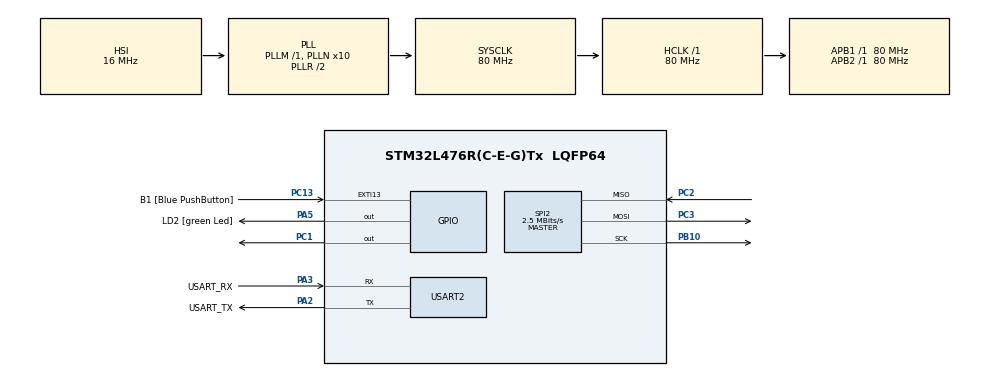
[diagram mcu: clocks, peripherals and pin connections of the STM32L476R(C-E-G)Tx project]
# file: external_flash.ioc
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Mcu.Family=STM32L4
Mcu.Name=STM32L476R(C-E-G)Tx
Mcu.Package=LQFP64
NVIC.PriorityGroup=NVIC_PRIORITYGROUP_4
PA13\ (JTMS-SWDIO).GPIO_Label=TMS
PA13\ (JTMS-SWDIO).Mode=Serial_Wire
PA13\ (JTMS-SWDIO).Signal=SYS_JTMS-SWDIO
PA14\ (JTCK-SWCLK).GPIO_Label=TCK
PA14\ (JTCK-SWCLK).Mode=Serial_Wire
PA14\ (JTCK-SWCLK).Signal=SYS_JTCK-SWCLK
PA2.GPIO_Label=USART_TX
PA2.GPIO_Mode=GPIO_MODE_AF_PP
PA2.GPIO_PuPd=GPIO_NOPULL
PA2.GPIO_Speed=GPIO_SPEED_FREQ_VERY_HIGH
PA2.Mode=Asynchronous
PA2.Signal=USART2_TX
PA3.GPIO_Label=USART_RX
PA3.GPIO_Mode=GPIO_MODE_AF_PP
PA3.GPIO_PuPd=GPIO_NOPULL
PA3.GPIO_Speed=GPIO_SPEED_FREQ_VERY_HIGH
PA3.Mode=Asynchronous
PA3.Signal=USART2_RX
PA5.GPIO_Label=LD2 [green Led]
PA5.GPIO_ModeDefaultOutputPP=GPIO_MODE_OUTPUT_PP
PA5.GPIO_PuPd=GPIO_NOPULL
PA5.GPIO_Speed=GPIO_SPEED_FREQ_LOW
PA5.Signal=GPIO_Output
PB10.Mode=Full_Duplex_Master
PB10.Signal=SPI2_SCK
PB3\ (JTDO-TRACESWO).GPIO_Label=SWO
PB3\ (JTDO-TRACESWO).Signal=SYS_JTDO-SWO
PC1.GPIO_Speed=GPIO_SPEED_FREQ_VERY_HIGH
PC1.PinState=GPIO_PIN_SET
PC1.Signal=GPIO_Output
PC13.GPIO_Label=B1 [Blue PushButton]
PC13.GPIO_ModeDefaultEXTI=GPIO_MODE_IT_FALLING
PC13.GPIO_PuPd=GPIO_NOPULL
PC13.Signal=GPXTI13
PC14-OSC32_IN\ (PC14).Signal=RCC_OSC32_IN
PC15-OSC32_OUT\ (PC15).Signal=RCC_OSC32_OUT
PC2.Mode=Full_Duplex_Master
PC2.Signal=SPI2_MISO
PC3.Mode=Full_Duplex_Master
PC3.Signal=SPI2_MOSI
PH0-OSC_IN\ (PH0).Signal=RCC_OSC_IN
PH1-OSC_OUT\ (PH1).Signal=RCC_OSC_OUT
ProjectManager.HeapSize=0x200
ProjectManager.StackSize=0x400
ProjectManager.TargetToolchain=STM32CubeIDE
RCC.ADCFreq_Value=64000000
RCC.AHBFreq_Value=80000000
RCC.APB1Freq_Value=80000000
RCC.APB1TimFreq_Value=80000000
RCC.APB2Freq_Value=80000000
RCC.APB2TimFreq_Value=80000000
RCC.CortexFreq_Value=80000000
RCC.HCLKFreq_Value=80000000
RCC.HSE_VALUE=8000000
RCC.HSI_VALUE=16000000
RCC.MSI_VALUE=4000000
RCC.PLLN=10
RCC.PLLSourceVirtual=RCC_PLLSOURCE_HSI
RCC.PREFETCH_ENABLE=1
RCC.SYSCLKFreq_VALUE=80000000
RCC.SYSCLKSource=RCC_SYSCLKSOURCE_PLLCLK
RCC.USBFreq_Value=64000000
RCC.VCOOutputFreq_Value=160000000
SPI2.BaudRatePrescaler=SPI_BAUDRATEPRESCALER_32
SPI2.CalculateBaudRate=2.5 MBits/s
SPI2.DataSize=SPI_DATASIZE_8BIT
SPI2.Direction=SPI_DIRECTION_2LINES
SPI2.Mode=SPI_MODE_MASTER
SPI2.VirtualType=VM_MASTER
USART2.VirtualMode-Asynchronous=VM_ASYNC
board=NUCLEO-L476RG

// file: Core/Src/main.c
/* USER CODE BEGIN Header */
/**
  ******************************************************************************
  * @file           : main.c
  * @brief          : Main program body
  ******************************************************************************
  * @attention
  *
  * Copyright (c) 2025 STMicroelectronics.
  * All rights reserved.
  *
  * This software is licensed under terms that can be found in the LICENSE file
  * in the root directory of this software component.
  * If no LICENSE file comes with this software, it is provided AS-IS.
  *
  ******************************************************************************
  */
/* USER CODE END Header */
#include "main.h"

/* USER CODE BEGIN Includes */
#include"w25qxx.h"
#include<stdio.h>
#include<string.h>
#include<stdarg.h>
/* USER CODE END Includes */

SPI_HandleTypeDef hspi2;

UART_HandleTypeDef huart2;

void SystemClock_Config(void);
static void MX_GPIO_Init(void);
static void MX_USART2_UART_Init(void);
static void MX_SPI2_Init(void);

/* USER CODE BEGIN 0 */
uint32_t ID;
uint8_t rx_buffer[100];
char tx_buffer[] = "External Flash Programming";
uint32_t len;
void debug_printf(const char *fmt, ...)
{
	char buffer[256];
	va_list args;
	va_start(args, fmt);
	vsnprintf(buffer, sizeof(buffer), fmt, args);
	va_end(args);
	uint16_t i = 0;
	while(buffer[i] != '\0')
	{
		ITM_SendChar(buffer[i]);
		i++;
	}
}
/* USER CODE END 0 */

int main(void)
{

  /* MCU Configuration--------------------------------------------------------*/

  /* Reset of all peripherals, Initializes the Flash interface and the Systick. */
  HAL_Init();

  /* Configure the system clock */
  SystemClock_Config();

  /* USER CODE BEGIN SysInit */
  len=strlen(tx_buffer);
  /* USER CODE END SysInit */

  /* Initialize all configured peripherals */
  MX_GPIO_Init();
  MX_USART2_UART_Init();
  MX_SPI2_Init();
  /* USER CODE BEGIN 2 */
  W25Q_RESET();
  ID = W25_ReadID();
  if(ID == 0xEF4018)
  {
      Flash_Erase_Sector(0);   // clear first 4KB

      flash_write(0, 0, len, (uint8_t*)tx_buffer);
      while(Flash_ReadStatus() & 0x01);

      //memset(rx_buffer, 0, sizeof(rx_buffer));
      W25q_Read(0, 0, len, rx_buffer);

      debug_printf("rx buffer:%s\r\n", rx_buffer);
  }

  //debug_printf("%s\r\n",RxData);
  /* USER CODE END 2 */

  /* Infinite loop */
  while (1)
  {

  }
}

void SystemClock_Config(void)
{
  RCC_OscInitTypeDef RCC_OscInitStruct = {0};
  RCC_ClkInitTypeDef RCC_ClkInitStruct = {0};

  /** Configure the main internal regulator output voltage
  */
  if (HAL_PWREx_ControlVoltageScaling(PWR_REGULATOR_VOLTAGE_SCALE1) != HAL_OK)
  {
    Error_Handler();
  }

  /** Initializes the RCC Oscillators according to the specified parameters
  * in the RCC_OscInitTypeDef structure.
  */
  RCC_OscInitStruct.OscillatorType = RCC_OSCILLATORTYPE_HSI;
  RCC_OscInitStruct.HSIState = RCC_HSI_ON;
  RCC_OscInitStruct.HSICalibrationValue = RCC_HSICALIBRATION_DEFAULT;
  RCC_OscInitStruct.PLL.PLLState = RCC_PLL_ON;
  RCC_OscInitStruct.PLL.PLLSource = RCC_PLLSOURCE_HSI;
  RCC_OscInitStruct.PLL.PLLM = 1;
  RCC_OscInitStruct.PLL.PLLN = 10;
  RCC_OscInitStruct.PLL.PLLP = RCC_PLLP_DIV7;
  RCC_OscInitStruct.PLL.PLLQ = RCC_PLLQ_DIV2;
  RCC_OscInitStruct.PLL.PLLR = RCC_PLLR_DIV2;
  if (HAL_RCC_OscConfig(&RCC_OscInitStruct) != HAL_OK)
  {
    Error_Handler();
  }

  /** Initializes the CPU, AHB and APB buses clocks
  */
  RCC_ClkInitStruct.ClockType = RCC_CLOCKTYPE_HCLK|RCC_CLOCKTYPE_SYSCLK
                              |RCC_CLOCKTYPE_PCLK1|RCC_CLOCKTYPE_PCLK2;
  RCC_ClkInitStruct.SYSCLKSource = RCC_SYSCLKSOURCE_PLLCLK;
  RCC_ClkInitStruct.AHBCLKDivider = RCC_SYSCLK_DIV1;
  RCC_ClkInitStruct.APB1CLKDivider = RCC_HCLK_DIV1;
  RCC_ClkInitStruct.APB2CLKDivider = RCC_HCLK_DIV1;

  if (HAL_RCC_ClockConfig(&RCC_ClkInitStruct, FLASH_LATENCY_4) != HAL_OK)
  {
    Error_Handler();
  }
}

static void MX_SPI2_Init(void)
{

  /* SPI2 parameter configuration*/
  hspi2.Instance = SPI2;
  hspi2.Init.Mode = SPI_MODE_MASTER;
  hspi2.Init.Direction = SPI_DIRECTION_2LINES;
  hspi2.Init.DataSize = SPI_DATASIZE_8BIT;
  hspi2.Init.CLKPolarity = SPI_POLARITY_LOW;
  hspi2.Init.CLKPhase = SPI_PHASE_1EDGE;
  hspi2.Init.NSS = SPI_NSS_SOFT;
  hspi2.Init.BaudRatePrescaler = SPI_BAUDRATEPRESCALER_32;
  hspi2.Init.FirstBit = SPI_FIRSTBIT_MSB;
  hspi2.Init.TIMode = SPI_TIMODE_DISABLE;
  hspi2.Init.CRCCalculation = SPI_CRCCALCULATION_DISABLE;
  hspi2.Init.CRCPolynomial = 7;
  hspi2.Init.CRCLength = SPI_CRC_LENGTH_DATASIZE;
  hspi2.Init.NSSPMode = SPI_NSS_PULSE_ENABLE;
  if (HAL_SPI_Init(&hspi2) != HAL_OK)
  {
    Error_Handler();
  }

}

static void MX_USART2_UART_Init(void)
{

  huart2.Instance = USART2;
  huart2.Init.BaudRate = 115200;
  huart2.Init.WordLength = UART_WORDLENGTH_8B;
  huart2.Init.StopBits = UART_STOPBITS_1;
  huart2.Init.Parity = UART_PARITY_NONE;
  huart2.Init.Mode = UART_MODE_TX_RX;
  huart2.Init.HwFlowCtl = UART_HWCONTROL_NONE;
  huart2.Init.OverSampling = UART_OVERSAMPLING_16;
  huart2.Init.OneBitSampling = UART_ONE_BIT_SAMPLE_DISABLE;
  huart2.AdvancedInit.AdvFeatureInit = UART_ADVFEATURE_NO_INIT;
  if (HAL_UART_Init(&huart2) != HAL_OK)
  {
    Error_Handler();
  }

}

static void MX_GPIO_Init(void)
{
  GPIO_InitTypeDef GPIO_InitStruct = {0};

  /* GPIO Ports Clock Enable */
  __HAL_RCC_GPIOC_CLK_ENABLE();
  __HAL_RCC_GPIOH_CLK_ENABLE();
  __HAL_RCC_GPIOA_CLK_ENABLE();
  __HAL_RCC_GPIOB_CLK_ENABLE();

  /*Configure GPIO pin Output Level */
  HAL_GPIO_WritePin(GPIOC, GPIO_PIN_1, GPIO_PIN_SET);

  /*Configure GPIO pin Output Level */
  HAL_GPIO_WritePin(LD2_GPIO_Port, LD2_Pin, GPIO_PIN_RESET);

  /*Configure GPIO pin : B1_Pin */
  GPIO_InitStruct.Pin = B1_Pin;
  GPIO_InitStruct.Mode = GPIO_MODE_IT_FALLING;
  GPIO_InitStruct.Pull = GPIO_NOPULL;
  HAL_GPIO_Init(B1_GPIO_Port, &GPIO_InitStruct);

  /*Configure GPIO pin : PC1 */
  GPIO_InitStruct.Pin = GPIO_PIN_1;
  GPIO_InitStruct.Mode = GPIO_MODE_OUTPUT_PP;
  GPIO_InitStruct.Pull = GPIO_NOPULL;
  GPIO_InitStruct.Speed = GPIO_SPEED_FREQ_VERY_HIGH;
  HAL_GPIO_Init(GPIOC, &GPIO_InitStruct);

  /*Configure GPIO pin : LD2_Pin */
  GPIO_InitStruct.Pin = LD2_Pin;
  GPIO_InitStruct.Mode = GPIO_MODE_OUTPUT_PP;
  GPIO_InitStruct.Pull = GPIO_NOPULL;
  GPIO_InitStruct.Speed = GPIO_SPEED_FREQ_LOW;
  HAL_GPIO_Init(LD2_GPIO_Port, &GPIO_InitStruct);

}

void Error_Handler(void)
{
  __disable_irq();
  while (1)
  {
  }
}
